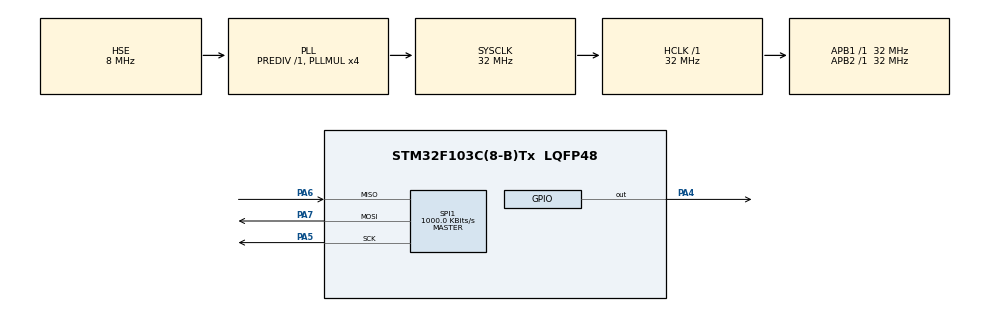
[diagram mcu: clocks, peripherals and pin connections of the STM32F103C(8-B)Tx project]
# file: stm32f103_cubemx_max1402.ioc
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Mcu.Family=STM32F1
Mcu.Name=STM32F103C(8-B)Tx
Mcu.Package=LQFP48
NVIC.PriorityGroup=NVIC_PRIORITYGROUP_4
PA13.Mode=Serial_Wire
PA13.Signal=SYS_JTMS-SWDIO
PA14.Mode=Serial_Wire
PA14.Signal=SYS_JTCK-SWCLK
PA4.Signal=GPIO_Output
PA5.Mode=Full_Duplex_Master
PA5.Signal=SPI1_SCK
PA6.Mode=Full_Duplex_Master
PA6.Signal=SPI1_MISO
PA7.Mode=Full_Duplex_Master
PA7.Signal=SPI1_MOSI
PD0-OSC_IN.Mode=HSE-External-Oscillator
PD0-OSC_IN.Signal=RCC_OSC_IN
PD1-OSC_OUT.Mode=HSE-External-Oscillator
PD1-OSC_OUT.Signal=RCC_OSC_OUT
ProjectManager.HeapSize=0x200
ProjectManager.StackSize=0x400
ProjectManager.TargetToolchain=STM32CubeIDE
RCC.AHBFreq_Value=32000000
RCC.APB1Freq_Value=32000000
RCC.APB1TimFreq_Value=32000000
RCC.APB2Freq_Value=32000000
RCC.APB2TimFreq_Value=32000000
RCC.HCLKFreq_Value=32000000
RCC.PLLMUL=RCC_PLL_MUL4
RCC.PLLSourceVirtual=RCC_PLLSOURCE_HSE
RCC.SYSCLKFreq_VALUE=32000000
RCC.SYSCLKSource=RCC_SYSCLKSOURCE_PLLCLK
RCC.USBFreq_Value=32000000
SPI1.BaudRatePrescaler=SPI_BAUDRATEPRESCALER_32
SPI1.CalculateBaudRate=1000.0 KBits/s
SPI1.DataSize=SPI_DATASIZE_16BIT
SPI1.Direction=SPI_DIRECTION_2LINES
SPI1.FirstBit=SPI_FIRSTBIT_LSB
SPI1.Mode=SPI_MODE_MASTER
SPI1.VirtualType=VM_MASTER
board=custom

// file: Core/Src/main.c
/* USER CODE BEGIN Header */
/**
  ******************************************************************************
  * @file           : main.c
  * @brief          : Main program body
  ******************************************************************************
  * @attention
  *
  * <h2><center>&copy; Copyright (c) 2022 STMicroelectronics.
  * All rights reserved.</center></h2>
  *
  * This software component is licensed by ST under BSD 3-Clause license,
  * the "License"; You may not use this file except in compliance with the
  * License. You may obtain a copy of the License at:
  *                        opensource.org/licenses/BSD-3-Clause
  *
  ******************************************************************************
  */
/* USER CODE END Header */
#include "main.h"

/* USER CODE BEGIN Includes */

//#include "GB_MAX14002_STM32.h"

/* USER CODE END Includes */

SPI_HandleTypeDef hspi1;

void SystemClock_Config(void);
static void MX_GPIO_Init(void);
static void MX_SPI1_Init(void);
/* USER CODE BEGIN PFP */
#define cs_set() HAL_GPIO_WritePin(GPIOA,GPIO_PIN_4,GPIO_PIN_SET)
#define cs_reset() HAL_GPIO_WritePin(GPIOA,GPIO_PIN_4,GPIO_PIN_RESET)

#define MAX1402_ADC   0x00
#define MAX1402_FADC  0X01
#define MAX1402_FLAGS 0x02
#define MAX1402_FLTEN 0x03
#define MAX1402_THL   0x04
#define MAX1402_THU   0x05
#define MAX1402_INRR  0x6
#define MAX1402_INRT  0x07
#define MAX1402_INRP  0x08
#define MAX1402_CFG   0x09
#define MAX1402_ENBL  0x0A
#define MAX1402_ACT   0x0B
#define MAX1402_WEN   0x0C
#define MAX1402_FLTV  0x13
#define MAX1402_THLV  0x14
#define MAX1402_THUV  0x15
#define MAX1402_INRRV 0x16
#define MAX1402_INRTV 0x17
#define MAX1402_INRPV 0x18
#define MAX1402_CFGV  0x19
#define MAX1402_ENBLV 0x1A

/* USER CODE END PFP */

/* USER CODE BEGIN 0 */

uint16_t read_reg(uint16_t Rreg)
{
	return(((Rreg << 11) & 0xf800));
}
uint16_t write_reg(uint16_t Wreg,uint16_t Wdata)
{
	return(uint16_t)(((((uint16_t)Wreg) <<11) & 0xf800 ) + Wdata + 1024);
}
//uint16_t rx_buf[1025];

uint16_t rx_buf[15] =  {0};
uint16_t tx_buf;

void SPI1_Send (uint16_t *dt, uint16_t cnt)
{
  HAL_SPI_Transmit (&hspi1, (uint8_t*)dt, cnt, 5000);

}
HAL_StatusTypeDef SPI1_Send_Recv( uint16_t *dt, uint16_t *rt, uint16_t cnt)
{
	HAL_StatusTypeDef status = HAL_ERROR;

	status = HAL_SPI_TransmitReceive(&hspi1, (uint8_t*)dt, (uint8_t*)rt, cnt, 5000);

	if(HAL_OK == status)
	{
	*rt =  (((uint16_t)(*rt<<6))>>6);
	return status;
	}
	return status;
}

void MAX1402_Read_reg(uint16_t reg, uint16_t *RregD)
{
	cs_reset();
	tx_buf=read_reg(reg);
	SPI1_Send_Recv(&tx_buf, RregD, 1);
	cs_set();
}

void MAX1402_Write_reg(uint16_t reg, uint16_t WregD)
{
	cs_reset();
	tx_buf=write_reg(reg, WregD);
	SPI1_Send(&tx_buf,1);
	cs_set();
}
uint16_t flag_read[15] = {0};
void MAX1402_init()
{
	//rx_buf[15] =  {0};

	//status = MAX_1402_GEN_ERROR;
	HAL_Delay(500);
	MAX1402_Read_reg(MAX1402_FLAGS, &flag_read[0]);

	HAL_Delay(100);
	MAX1402_Write_reg(MAX1402_WEN,0x294); //WEN is written to 294 for enabling writing to SPI registers
	MAX1402_Read_reg(MAX1402_WEN, &rx_buf[0]);

	//MAX1402_Read_reg(MAX1402_FLAGS, &flag_read[1]);

	HAL_Delay(100);
	MAX1402_Write_reg(MAX1402_ENBL, 0x000); // ENA bit is set to 0, setting this bit to 1 will enable the inrush and bias current
	MAX1402_Read_reg(MAX1402_ENBL, &rx_buf[1]); // so after programming all configuration and verification register will set this

	//MAX1402_Read_reg(MAX1402_FLAGS, &flag_read[2]);
	HAL_Delay(100);
	MAX1402_Write_reg(MAX1402_FLTEN, 0x0ff); // MV bit is set to 0,
	MAX1402_Read_reg(MAX1402_FLTEN, &rx_buf[2]);

	//MAX1402_Read_reg(MAX1402_FLAGS, &flag_read[6]);
	HAL_Delay(100);
	MAX1402_Write_reg(MAX1402_CFG, 0x176); // CFG= Filtered data, at average of 2, external voltage reference enabled
	//MAX1402_Write_reg(MAX1402_CFG, 0x306);
	MAX1402_Read_reg(MAX1402_CFG, &rx_buf[3]);

	HAL_Delay(100);
	MAX1402_Write_reg(MAX1402_CFGV, 0x176); // CFGV= Configuration verification register

	//MAX1402_Read_reg(MAX1402_FLAGS, &flag_read[4]);  // read flags

	HAL_Delay(100);
	MAX1402_Write_reg(MAX1402_FLTEN, 0x1ff); // MV bit is set to 1, after configuring and verifcation register
	MAX1402_Read_reg(MAX1402_FLTEN, &rx_buf[4]);

	MAX1402_Write_reg(MAX1402_WEN,0x000); //WEN is written to 000 for disabling writing to SPI registers
	MAX1402_Read_reg(MAX1402_WEN, &rx_buf[5]);

	MAX1402_Read_reg(MAX1402_FLAGS, &flag_read[4]);  // read flags
	MAX1402_Read_reg(MAX1402_FLAGS, &flag_read[5]);  // read flags

	MAX1402_Write_reg(MAX1402_ACT, 0x040); //80
	MAX1402_Read_reg(MAX1402_ACT, &rx_buf[12]);

	MAX1402_Read_reg(MAX1402_FLAGS, &flag_read[10]);  // read flags
		MAX1402_Read_reg(MAX1402_FLAGS, &flag_read[11]);  // read flags

	// if yes then procced
	HAL_Delay(100);
	MAX1402_Write_reg(MAX1402_WEN,0x294);   //WEN is written to 294 for enabling writing to SPI registers
	MAX1402_Read_reg(MAX1402_WEN, &rx_buf[6]);

	HAL_Delay(100);
	MAX1402_Write_reg(MAX1402_ENBL, 0x010); // ENA bit is set to 1, setting this bit to 1 will enable the inrush and bias current
	MAX1402_Read_reg(MAX1402_ENBL, &rx_buf[7]); // so after programming all configuration and verification register will set this

	HAL_Delay(100);
	MAX1402_Read_reg(MAX1402_FLAGS, &flag_read[6]);  // read flags
	MAX1402_Read_reg(MAX1402_FLAGS, &flag_read[7]);  // read flags

	//MAX1402_Read_reg(MAX1402_FLAGS, &flag_read[8]);  // read flags

	HAL_Delay(100);
	MAX1402_Write_reg(MAX1402_WEN,0x000); //WEN is written to 294 for cpnfiguring
	MAX1402_Read_reg(MAX1402_WEN, &rx_buf[8]);

	MAX1402_Read_reg(MAX1402_FLAGS, &flag_read[8]);  // read flags
	MAX1402_Read_reg(MAX1402_FLAGS, &flag_read[9]);  // read flags

//	if(0x100 == rx_buf)
//	{
//		status = MAX_1402_FLAG_OK;
//	}

	/*
	 * 1) value of 0x294 has to be written in register 0x0c, before writing to any of the configuration and verifation register.
	 * 2) ENA bit is set as 0 in ENBL register before programming CFG register.
	 * 3) Enable external shunt resistror n CFG register ENTI and EXRF bits are set as 1, also vonfigures the CFG register.
	 * 4) ENA bit is set as 1 in ENBL register after programming CFG register.
	 */

}

uint16_t ADC_Data = 0;
/* USER CODE END 0 */

int main(void)
{

  /* MCU Configuration--------------------------------------------------------*/

  /* Reset of all peripherals, Initializes the Flash interface and the Systick. */
  HAL_Init();

  /* Configure the system clock */
  SystemClock_Config();

  /* Initialize all configured peripherals */
  MX_GPIO_Init();
  MX_SPI1_Init();
  /* USER CODE BEGIN 2 */

  MAX1402_init();
  MAX1402_Read_reg(MAX1402_CFG, &rx_buf[14]);
  MAX1402_Read_reg(MAX1402_CFG, &rx_buf[14]);
  /* USER CODE END 2 */

  /* Infinite loop */
  while (1)
  {

    /* USER CODE BEGIN 3 */

	HAL_Delay(100);
	MAX1402_Read_reg(MAX1402_FADC, &ADC_Data);
	HAL_Delay(200);
  }
  /* USER CODE END 3 */
}

void SystemClock_Config(void)
{
  RCC_OscInitTypeDef RCC_OscInitStruct = {0};
  RCC_ClkInitTypeDef RCC_ClkInitStruct = {0};

  /** Initializes the RCC Oscillators according to the specified parameters
  * in the RCC_OscInitTypeDef structure.
  */
  RCC_OscInitStruct.OscillatorType = RCC_OSCILLATORTYPE_HSE;
  RCC_OscInitStruct.HSEState = RCC_HSE_ON;
  RCC_OscInitStruct.HSEPredivValue = RCC_HSE_PREDIV_DIV1;
  RCC_OscInitStruct.HSIState = RCC_HSI_ON;
  RCC_OscInitStruct.PLL.PLLState = RCC_PLL_ON;
  RCC_OscInitStruct.PLL.PLLSource = RCC_PLLSOURCE_HSE;
  RCC_OscInitStruct.PLL.PLLMUL = RCC_PLL_MUL4;
  if (HAL_RCC_OscConfig(&RCC_OscInitStruct) != HAL_OK)
  {
    Error_Handler();
  }
  /** Initializes the CPU, AHB and APB buses clocks
  */
  RCC_ClkInitStruct.ClockType = RCC_CLOCKTYPE_HCLK|RCC_CLOCKTYPE_SYSCLK
                              |RCC_CLOCKTYPE_PCLK1|RCC_CLOCKTYPE_PCLK2;
  RCC_ClkInitStruct.SYSCLKSource = RCC_SYSCLKSOURCE_PLLCLK;
  RCC_ClkInitStruct.AHBCLKDivider = RCC_SYSCLK_DIV1;
  RCC_ClkInitStruct.APB1CLKDivider = RCC_HCLK_DIV1;
  RCC_ClkInitStruct.APB2CLKDivider = RCC_HCLK_DIV1;

  if (HAL_RCC_ClockConfig(&RCC_ClkInitStruct, FLASH_LATENCY_1) != HAL_OK)
  {
    Error_Handler();
  }
}

static void MX_SPI1_Init(void)
{

  /* SPI1 parameter configuration*/
  hspi1.Instance = SPI1;
  hspi1.Init.Mode = SPI_MODE_MASTER;
  hspi1.Init.Direction = SPI_DIRECTION_2LINES;
  hspi1.Init.DataSize = SPI_DATASIZE_16BIT;
  hspi1.Init.CLKPolarity = SPI_POLARITY_LOW;
  hspi1.Init.CLKPhase = SPI_PHASE_1EDGE;
  hspi1.Init.NSS = SPI_NSS_SOFT;
  hspi1.Init.BaudRatePrescaler = SPI_BAUDRATEPRESCALER_32;
  hspi1.Init.FirstBit = SPI_FIRSTBIT_LSB;
  hspi1.Init.TIMode = SPI_TIMODE_DISABLE;
  hspi1.Init.CRCCalculation = SPI_CRCCALCULATION_DISABLE;
  hspi1.Init.CRCPolynomial = 10;
  if (HAL_SPI_Init(&hspi1) != HAL_OK)
  {
    Error_Handler();
  }

}

static void MX_GPIO_Init(void)
{
  GPIO_InitTypeDef GPIO_InitStruct = {0};

  /* GPIO Ports Clock Enable */
  __HAL_RCC_GPIOD_CLK_ENABLE();
  __HAL_RCC_GPIOA_CLK_ENABLE();

  /*Configure GPIO pin Output Level */
  HAL_GPIO_WritePin(GPIOA, GPIO_PIN_4, GPIO_PIN_RESET);

  /*Configure GPIO pin : PA4 */
  GPIO_InitStruct.Pin = GPIO_PIN_4;
  GPIO_InitStruct.Mode = GPIO_MODE_OUTPUT_PP;
  GPIO_InitStruct.Pull = GPIO_NOPULL;
  GPIO_InitStruct.Speed = GPIO_SPEED_FREQ_LOW;
  HAL_GPIO_Init(GPIOA, &GPIO_InitStruct);

}

void Error_Handler(void)
{
  __disable_irq();
  while (1)
  {
  }
}
